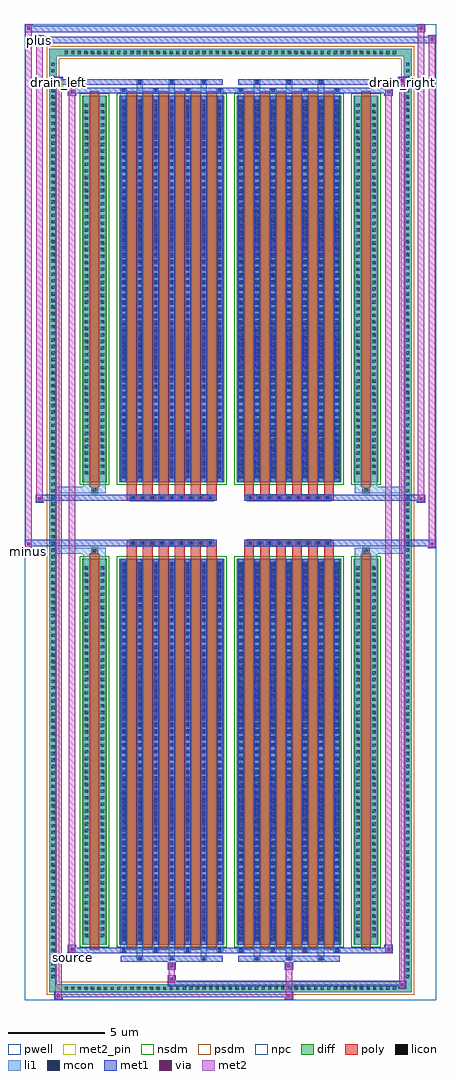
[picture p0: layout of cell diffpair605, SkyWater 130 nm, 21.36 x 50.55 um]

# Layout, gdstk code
import gdstk
lib = gdstk.Library(unit=1e-6, precision=5e-09)
def R(c, l, rs):  # rectangles x0, y0, x1, y1
    for r in rs: c.add(gdstk.rectangle(r[:2], r[2:], *l))
def A(c, l, x, y, w, h, nx, ny, dx, dy):  # array of equal rectangles
    R(c, l, [(x+i*dx, y+j*dy, x+i*dx+w, y+j*dy+h) for i in range(nx) for j in range(ny)])
def P(c, l, *ps):  # polygons
    for p in ps: c.add(gdstk.Polygon(p, *l))
pwell = (64, 44)
diff = (65, 20)
poly = (66, 20)
licon = (66, 44)
li1 = (67, 20)
mcon = (67, 44)
met1 = (68, 20)
via = (68, 44)
met2_pin = (69, 16)
met2 = (69, 20)
nsdm = (93, 44)
psdm = (94, 20)
npc = (95, 20)

diffpair605 = lib.new_cell('diffpair605')
R(diffpair605, pwell, [(-10.66,-24.84,10.66,25.71), (-7.98,-23.03,-0.01,-0.805), (0.01,-23.03,7.98,-0.805), (-7.98,0.805,-0.01,23.03), (0.01,0.805,7.98,23.03)])
A(diffpair605, diff, -8.705, -24.44, 0.41, 0.41, 51, 2, 0.34, 48.47)
A(diffpair605, diff, -9.39, -23.835, 0.41, 0.41, 1, 140, 0, 0.34)
A(diffpair605, diff, 8.98, -23.835, 0.41, 0.41, 1, 140, 0, 0.34)
R(diffpair605, diff, [(-8.705,-24.44,8.705,-24.03), (-9.39,-23.835,-8.98,23.835), (8.98,-23.835,9.39,23.835), (-7.67,-21.985,-6.39,-1.985), (-5.75,-21.985,-0.32,-1.985), (0.32,-21.985,5.75,-1.985), (6.39,-21.985,7.67,-1.985), (-7.67,1.985,-6.39,21.985), (-5.75,1.985,-0.32,21.985), (0.32,1.985,5.75,21.985), (6.39,1.985,7.67,21.985), (-8.705,24.03,8.705,24.44)])
P(diffpair605, diff, [(9.39,24.44),(-9.39,24.44),(-9.39,-24.03),(-8.98,-24.03),(-8.98,24.03),(8.98,24.03),(8.98,-24.03),(-8.98,-24.03),(-9.39,-24.03),(-9.39,-24.44),(9.39,-24.44)])
A(diffpair605, poly, -5.36, -22.235, 0.5, 20.5, 6, 2, 0.83, 23.97)
A(diffpair605, poly, 0.71, -22.235, 0.5, 20.5, 6, 2, 0.83, 23.97)
A(diffpair605, poly, -5.36, -1.735, 0.5, 0.4, 6, 2, 0.83, 3.07)
A(diffpair605, poly, 0.71, -1.735, 0.5, 0.4, 6, 2, 0.83, 3.07)
A(diffpair605, poly, -5.2, -1.335, 0.33, 0.33, 9, 2, 0.5, 2.34)
A(diffpair605, poly, 0.87, -1.335, 0.33, 0.33, 9, 2, 0.5, 2.34)
R(diffpair605, poly, [(-7.28,-22.235,-6.78,-1.735), (6.78,-22.235,7.28,-1.735), (-7.195,-1.735,-6.865,-1.405), (-7.195,-1.735,-6.865,-1.405), (6.865,-1.735,7.195,-1.405), (6.865,-1.735,7.195,-1.405), (-5.36,-1.335,-0.71,-1.005), (0.71,-1.335,5.36,-1.005), (-5.36,1.005,-0.71,1.335), (0.71,1.005,5.36,1.335), (-7.195,1.405,-6.865,1.735), (-7.195,1.405,-6.865,1.735), (6.865,1.405,7.195,1.735), (6.865,1.405,7.195,1.735), (-7.28,1.735,-6.78,22.235), (6.78,1.735,7.28,22.235)])
A(diffpair605, licon, -8.585, -24.32, 0.17, 0.17, 51, 2, 0.34, 48.47)
A(diffpair605, licon, -9.27, -23.715, 0.17, 0.17, 1, 140, 0, 0.34)
A(diffpair605, licon, 9.1, -23.715, 0.17, 0.17, 1, 140, 0, 0.34)
A(diffpair605, licon, -7.53, -21.59, 0.17, 0.17, 1, 57, 0, 0.34)
A(diffpair605, licon, -6.7, -21.59, 0.17, 0.17, 1, 57, 0, 0.34)
A(diffpair605, licon, -5.61, -21.59, 0.17, 0.17, 7, 57, 0.83, 0.34)
A(diffpair605, licon, 0.46, -21.59, 0.17, 0.17, 7, 57, 0.83, 0.34)
A(diffpair605, licon, 6.53, -21.59, 0.17, 0.17, 1, 57, 0, 0.34)
A(diffpair605, licon, 7.36, -21.59, 0.17, 0.17, 1, 57, 0, 0.34)
A(diffpair605, licon, -5.12, -1.255, 0.17, 0.17, 9, 2, 0.5, 2.34)
A(diffpair605, licon, 0.95, -1.255, 0.17, 0.17, 9, 2, 0.5, 2.34)
A(diffpair605, licon, -7.53, 2.38, 0.17, 0.17, 1, 57, 0, 0.34)
A(diffpair605, licon, -6.7, 2.38, 0.17, 0.17, 1, 57, 0, 0.34)
A(diffpair605, licon, -5.61, 2.38, 0.17, 0.17, 7, 57, 0.83, 0.34)
A(diffpair605, licon, 0.46, 2.38, 0.17, 0.17, 7, 57, 0.83, 0.34)
A(diffpair605, licon, 6.53, 2.38, 0.17, 0.17, 1, 57, 0, 0.34)
A(diffpair605, licon, 7.36, 2.38, 0.17, 0.17, 1, 57, 0, 0.34)
R(diffpair605, licon, [(-7.115,-1.655,-6.945,-1.485), (6.945,-1.655,7.115,-1.485), (-7.115,1.485,-6.945,1.655), (6.945,1.485,7.115,1.655)])
A(diffpair605, li1, -8.665, -24.4, 0.33, 0.33, 51, 2, 0.34, 48.47)
A(diffpair605, li1, -9.35, -23.795, 0.33, 0.33, 1, 140, 0, 0.34)
A(diffpair605, li1, 9.02, -23.795, 0.33, 0.33, 1, 140, 0, 0.34)
A(diffpair605, li1, -4.86, -22.79, 0.33, 0.805, 3, 2, 1.66, 44.775)
A(diffpair605, li1, -4.78, -22.79, 0.17, 0.17, 3, 2, 1.66, 45.41)
A(diffpair605, li1, 1.21, -22.79, 0.33, 0.805, 3, 2, 1.66, 44.775)
A(diffpair605, li1, 1.29, -22.79, 0.17, 0.17, 3, 2, 1.66, 45.41)
A(diffpair605, li1, -5.69, -22.36, 0.33, 0.375, 4, 2, 1.66, 44.345)
A(diffpair605, li1, -5.61, -22.36, 0.17, 0.17, 4, 2, 1.66, 44.55)
A(diffpair605, li1, 0.38, -22.36, 0.33, 0.375, 4, 2, 1.66, 44.345)
A(diffpair605, li1, 0.46, -22.36, 0.17, 0.17, 4, 2, 1.66, 44.55)
A(diffpair605, li1, -5.69, -21.985, 0.33, 20, 7, 2, 0.83, 23.97)
A(diffpair605, li1, 0.38, -21.985, 0.33, 20, 7, 2, 0.83, 23.97)
A(diffpair605, li1, -5.61, -21.79, 0.17, 0.17, 7, 55, 0.83, 0.36)
A(diffpair605, li1, -5.61, -21.79, 0.17, 19.61, 7, 2, 0.83, 23.97)
A(diffpair605, li1, 0.46, -21.79, 0.17, 0.17, 7, 55, 0.83, 0.36)
A(diffpair605, li1, 0.46, -21.79, 0.17, 19.61, 7, 2, 0.83, 23.97)
A(diffpair605, li1, -7.61, -21.67, 0.33, 0.33, 1, 57, 0, 0.34)
A(diffpair605, li1, -6.78, -21.67, 0.33, 0.33, 1, 57, 0, 0.34)
A(diffpair605, li1, -5.69, -21.67, 0.33, 0.33, 7, 57, 0.83, 0.34)
A(diffpair605, li1, 0.38, -21.67, 0.33, 0.33, 7, 57, 0.83, 0.34)
A(diffpair605, li1, 6.45, -21.67, 0.33, 0.33, 1, 57, 0, 0.34)
A(diffpair605, li1, 7.28, -21.67, 0.33, 0.33, 1, 57, 0, 0.34)
A(diffpair605, li1, -5.2, -1.335, 0.33, 0.33, 9, 2, 0.5, 2.34)
A(diffpair605, li1, 0.87, -1.335, 0.33, 0.33, 9, 2, 0.5, 2.34)
A(diffpair605, li1, -5.61, 2.18, 0.17, 0.17, 7, 55, 0.83, 0.36)
A(diffpair605, li1, 0.46, 2.18, 0.17, 0.17, 7, 55, 0.83, 0.36)
A(diffpair605, li1, -7.61, 2.3, 0.33, 0.33, 1, 57, 0, 0.34)
A(diffpair605, li1, -6.78, 2.3, 0.33, 0.33, 1, 57, 0, 0.34)
A(diffpair605, li1, -5.69, 2.3, 0.33, 0.33, 7, 57, 0.83, 0.34)
A(diffpair605, li1, 0.38, 2.3, 0.33, 0.33, 7, 57, 0.83, 0.34)
A(diffpair605, li1, 6.45, 2.3, 0.33, 0.33, 1, 57, 0, 0.34)
A(diffpair605, li1, 7.28, 2.3, 0.33, 0.33, 1, 57, 0, 0.34)
R(diffpair605, li1, [(-9.39,-24.44,-8.98,-24.03), (-9.39,-24.44,-8.98,-24.03), (-8.98,-24.44,8.98,-24.03), (8.98,-24.44,9.39,-24.03), (8.98,-24.44,9.39,-24.03), (-9.39,-24.03,-8.98,24.03), (8.98,-24.03,9.39,24.03), (-7.61,-21.985,-7.28,-1.985), (-6.78,-21.985,-6.45,-1.985), (6.45,-21.985,6.78,-1.985), (7.28,-21.985,7.61,-1.985), (-7.61,-1.985,-7.28,-1.405), (-6.78,-1.985,-6.45,-1.405), (6.45,-1.985,6.78,-1.405), (7.28,-1.985,7.61,-1.405), (-9.39,-1.735,-7.195,-1.405), (-7.61,-1.735,-7.195,-1.405), (-7.195,-1.735,-6.865,-1.405), (-6.865,-1.735,-6.45,-1.405), (6.45,-1.735,6.865,-1.405), (6.865,-1.735,7.195,-1.405), (6.865,-1.735,9.39,-1.405), (7.195,-1.735,7.61,-1.405), (-9.39,1.405,-7.195,1.735), (-7.61,1.405,-7.195,1.735), (-7.61,1.405,-7.28,1.985), (-7.195,1.405,-6.865,1.735), (-6.865,1.405,-6.45,1.735), (-6.78,1.405,-6.45,1.985), (6.45,1.405,6.865,1.735), (6.45,1.405,6.78,1.985), (6.865,1.405,7.195,1.735), (6.865,1.405,9.39,1.735), (7.195,1.405,7.61,1.735), (7.28,1.405,7.61,1.985), (-7.61,1.985,-7.28,21.985), (-6.78,1.985,-6.45,21.985), (6.45,1.985,6.78,21.985), (7.28,1.985,7.61,21.985), (-9.39,24.03,-8.98,24.44), (-9.39,24.03,-8.98,24.44), (-8.98,24.03,8.98,24.44), (8.98,24.03,9.39,24.44), (8.98,24.03,9.39,24.44)])
A(diffpair605, mcon, -4.78, -22.79, 0.17, 0.17, 3, 2, 1.66, 45.41)
A(diffpair605, mcon, 1.29, -22.79, 0.17, 0.17, 3, 2, 1.66, 45.41)
A(diffpair605, mcon, -5.61, -22.36, 0.17, 0.17, 4, 2, 1.66, 44.55)
A(diffpair605, mcon, 0.46, -22.36, 0.17, 0.17, 4, 2, 1.66, 44.55)
A(diffpair605, mcon, -5.61, -21.79, 0.17, 0.17, 7, 55, 0.83, 0.36)
A(diffpair605, mcon, 0.46, -21.79, 0.17, 0.17, 7, 55, 0.83, 0.36)
A(diffpair605, mcon, -5.12, -1.255, 0.17, 0.17, 9, 2, 0.5, 2.34)
A(diffpair605, mcon, 0.95, -1.255, 0.17, 0.17, 9, 2, 0.5, 2.34)
A(diffpair605, mcon, -5.61, 2.18, 0.17, 0.17, 7, 55, 0.83, 0.36)
A(diffpair605, mcon, 0.46, 2.18, 0.17, 0.17, 7, 55, 0.83, 0.36)
A(diffpair605, met1, -4.84, -22.85, 0.29, 0.29, 3, 2, 1.66, 45.41)
A(diffpair605, met1, 1.23, -22.85, 0.29, 0.29, 3, 2, 1.66, 45.41)
A(diffpair605, met1, -5.67, -22.42, 0.29, 0.29, 4, 2, 1.66, 44.55)
A(diffpair605, met1, 0.4, -22.42, 0.29, 0.29, 4, 2, 1.66, 44.55)
A(diffpair605, met1, -5.67, -21.985, 0.29, 20, 7, 2, 0.83, 23.97)
A(diffpair605, met1, 0.4, -21.985, 0.29, 20, 7, 2, 0.83, 23.97)
A(diffpair605, met1, -5.67, -21.85, 0.29, 0.29, 7, 55, 0.83, 0.36)
A(diffpair605, met1, 0.4, -21.85, 0.29, 0.29, 7, 55, 0.83, 0.36)
A(diffpair605, met1, -5.18, -1.315, 0.29, 0.29, 9, 2, 0.5, 2.34)
A(diffpair605, met1, 0.89, -1.315, 0.29, 0.29, 9, 2, 0.5, 2.34)
A(diffpair605, met1, -5.67, 2.12, 0.29, 0.29, 7, 55, 0.83, 0.36)
A(diffpair605, met1, 0.4, 2.12, 0.29, 0.29, 7, 55, 0.83, 0.36)
R(diffpair605, met1, [(-9.12,-24.84,-8.69,-24.41), (2.82,-24.84,3.25,-24.41), (-9.12,-24.7,3.25,-24.41), (8.69,-24.27,9.12,-23.84), (-3.25,-24.13,9.12,-23.84), (-3.25,-23.99,-2.82,-23.56), (-3.25,-23.28,-2.82,-22.85), (2.82,-23.28,3.25,-22.85), (-5.67,-22.85,-0.4,-22.56), (0.4,-22.85,5.67,-22.56), (-8.41,-22.42,-7.98,-21.99), (-8.41,-22.42,-5.67,-22.13), (-5.67,-22.42,-0.4,-22.13), (-0.4,-22.42,0.4,-22.13), (0.4,-22.42,5.67,-22.13), (5.67,-22.42,8.41,-22.13), (7.98,-22.42,8.41,-21.99), (-10.66,-1.435,-10.23,-1.005), (10.23,-1.435,10.66,-1.005), (-10.66,-1.335,-0.71,-1.005), (-5.36,-1.335,-0.71,-1.005), (0.71,-1.335,5.36,-1.005), (0.71,-1.335,10.66,-1.005), (-10.09,0.905,-9.66,1.335), (9.66,0.905,10.09,1.335), (-10.09,1.005,-5.36,1.335), (-5.36,1.005,-0.71,1.335), (0.71,1.005,5.36,1.335), (5.36,1.005,10.09,1.335), (-8.41,21.99,-7.98,22.42), (7.98,21.99,8.41,22.42), (-8.41,22.13,-5.67,22.42), (-5.67,22.13,-0.4,22.42), (-0.4,22.13,0.4,22.42), (0.4,22.13,5.67,22.42), (5.67,22.13,8.41,22.42), (-9.12,22.56,-8.69,22.99), (-9.12,22.56,-5.67,22.85), (-5.67,22.56,-0.4,22.85), (0.4,22.56,5.67,22.85), (5.67,22.56,9.12,22.85), (8.69,22.56,9.12,22.99), (-10.09,24.71,-9.66,25.14), (-10.09,24.71,-7.98,25.04), (-7.98,24.71,7.98,25.04), (7.98,24.71,10.66,25.04), (10.23,24.71,10.66,25.14), (-10.66,25.28,-10.23,25.71), (-10.66,25.28,-7.98,25.61), (-7.98,25.28,7.98,25.61), (7.98,25.28,10.09,25.61), (9.66,25.28,10.09,25.71)])
R(diffpair605, via, [(-8.98,-24.7,-8.83,-24.55), (2.96,-24.7,3.11,-24.55), (8.83,-24.13,8.98,-23.98), (-3.11,-23.85,-2.96,-23.7), (-3.11,-23.14,-2.96,-22.99), (2.96,-23.14,3.11,-22.99), (-8.27,-22.28,-8.12,-22.13), (8.12,-22.28,8.27,-22.13), (-10.52,-1.295,-10.37,-1.145), (10.37,-1.295,10.52,-1.145), (-9.95,1.045,-9.8,1.195), (9.8,1.045,9.95,1.195), (-8.27,22.13,-8.12,22.28), (8.12,22.13,8.27,22.28), (-8.98,22.7,-8.83,22.85), (8.83,22.7,8.98,22.85), (-9.95,24.85,-9.8,25), (10.37,24.85,10.52,25), (-10.52,25.42,-10.37,25.57), (9.8,25.42,9.95,25.57)])
R(diffpair605, met2_pin, [(-8.445,-22.87,-7.945,-22.37), (-10.695,-1.885,-10.195,-1.385), (-9.155,22.44,-8.655,22.94), (8.655,22.44,9.155,22.94), (-10.125,24.59,-9.625,25.09)])
R(diffpair605, met2, [(-9.07,-24.79,-8.74,-24.46), (-9.07,-24.79,-8.74,22.94), (2.87,-24.79,3.2,-24.46), (2.87,-24.46,3.2,-23.23), (8.74,-24.22,9.07,-23.89), (8.74,-24.22,9.07,22.94), (-3.2,-23.94,-2.87,-23.61), (-3.2,-23.61,-2.87,-23.23), (-3.2,-23.23,-2.87,-22.9), (2.87,-23.23,3.2,-22.9), (-8.36,-22.37,-8.03,-22.04), (-8.36,-22.37,-8.03,22.37), (8.03,-22.37,8.36,-22.04), (8.03,-22.37,8.36,22.37), (-10.61,-1.385,-10.28,-1.055), (-10.61,-1.385,-10.28,25.66), (10.28,-1.385,10.61,-1.055), (10.28,-1.385,10.61,25.09), (-10.04,0.955,-9.71,1.285), (-10.04,0.955,-9.71,25.09), (9.71,0.955,10.04,1.285), (9.71,0.955,10.04,25.66), (-8.36,22.04,-8.03,22.37), (8.03,22.04,8.36,22.37), (-9.07,22.61,-8.74,22.94), (8.74,22.61,9.07,22.94), (-10.04,24.76,-9.71,25.09), (10.28,24.76,10.61,25.09), (-10.61,25.33,-10.28,25.66), (9.71,25.33,10.04,25.66)])
P(diffpair605, met2, [(10.61,-1.385),(10.61,-1.385),(10.61,-1.055),(10.61,-1.055)],
  [(10.61,24.76),(10.61,24.76),(10.61,25.09),(10.61,25.09)],
  [(-10.28,-1.385),(-10.28,-1.385),(-10.28,-1.055),(-10.28,-1.055)],
  [(-10.28,25.33),(-10.28,25.33),(-10.28,25.66),(-10.28,25.66)],
  [(10.04,0.955),(10.04,0.955),(10.04,1.285),(10.04,1.285)],
  [(10.04,25.33),(10.04,25.33),(10.04,25.66),(10.04,25.66)],
  [(-9.71,0.955),(-9.71,0.955),(-9.71,1.285),(-9.71,1.285)],
  [(-9.71,24.76),(-9.71,24.76),(-9.71,25.09),(-9.71,25.09)],
  [(-8.74,-24.79),(-8.74,-24.79),(-8.74,-24.46),(-8.74,-24.46)],
  [(-8.74,22.61),(-8.74,22.61),(-8.74,22.94),(-8.74,22.94)],
  [(9.07,-24.22),(9.07,-24.22),(9.07,-23.89),(9.07,-23.89)],
  [(9.07,22.61),(9.07,22.61),(9.07,22.94),(9.07,22.94)],
  [(-8.03,-22.37),(-8.03,-22.37),(-8.03,-22.04),(-8.03,-22.04)],
  [(-8.03,22.04),(-8.03,22.04),(-8.03,22.37),(-8.03,22.37)],
  [(8.36,-22.37),(8.36,-22.37),(8.36,-22.04),(8.36,-22.04)],
  [(8.36,22.04),(8.36,22.04),(8.36,22.37),(8.36,22.37)])
R(diffpair605, nsdm, [(-7.8,-22.115,-6.26,-1.855), (-5.88,-22.115,-0.19,-1.855), (0.19,-22.115,5.88,-1.855), (6.26,-22.115,7.8,-1.855), (-7.8,1.855,-6.26,22.115), (-5.88,1.855,-0.19,22.115), (0.19,1.855,5.88,22.115), (6.26,1.855,7.8,22.115)])
P(diffpair605, psdm, [(9.52,24.57),(-9.52,24.57),(-9.52,-23.9),(-8.85,-23.9),(-8.85,23.9),(8.85,23.9),(8.85,-23.9),(-8.85,-23.9),(-9.52,-23.9),(-9.52,-24.57),(9.52,-24.57)])
A(diffpair605, npc, -5.22, -1.355, 0.37, 0.37, 9, 2, 0.5, 2.34)
A(diffpair605, npc, 0.85, -1.355, 0.37, 0.37, 9, 2, 0.5, 2.34)
R(diffpair605, npc, [(-7.215,-1.755,-6.845,-1.385), (6.845,-1.755,7.215,-1.385), (-5.22,-1.355,-4.35,-0.985), (-5.22,-1.355,-4.35,-0.985), (-4.72,-1.355,-3.85,-0.985), (-4.72,-1.355,-3.85,-0.985), (-4.22,-1.355,-3.35,-0.985), (-4.22,-1.355,-3.35,-0.985), (-3.72,-1.355,-2.85,-0.985), (-3.72,-1.355,-2.85,-0.985), (-3.22,-1.355,-2.35,-0.985), (-3.22,-1.355,-2.35,-0.985), (-2.72,-1.355,-1.85,-0.985), (-2.72,-1.355,-1.85,-0.985), (-2.22,-1.355,-1.35,-0.985), (-2.22,-1.355,-1.35,-0.985), (-1.72,-1.355,-0.85,-0.985), (-1.72,-1.355,-0.85,-0.985), (0.85,-1.355,1.72,-0.985), (0.85,-1.355,1.72,-0.985), (1.35,-1.355,2.22,-0.985), (1.35,-1.355,2.22,-0.985), (1.85,-1.355,2.72,-0.985), (1.85,-1.355,2.72,-0.985), (2.35,-1.355,3.22,-0.985), (2.35,-1.355,3.22,-0.985), (2.85,-1.355,3.72,-0.985), (2.85,-1.355,3.72,-0.985), (3.35,-1.355,4.22,-0.985), (3.35,-1.355,4.22,-0.985), (3.85,-1.355,4.72,-0.985), (3.85,-1.355,4.72,-0.985), (4.35,-1.355,5.22,-0.985), (4.35,-1.355,5.22,-0.985), (-5.22,0.985,-4.35,1.355), (-5.22,0.985,-4.35,1.355), (-4.72,0.985,-3.85,1.355), (-4.72,0.985,-3.85,1.355), (-4.22,0.985,-3.35,1.355), (-4.22,0.985,-3.35,1.355), (-3.72,0.985,-2.85,1.355), (-3.72,0.985,-2.85,1.355), (-3.22,0.985,-2.35,1.355), (-3.22,0.985,-2.35,1.355), (-2.72,0.985,-1.85,1.355), (-2.72,0.985,-1.85,1.355), (-2.22,0.985,-1.35,1.355), (-2.22,0.985,-1.35,1.355), (-1.72,0.985,-0.85,1.355), (-1.72,0.985,-0.85,1.355), (0.85,0.985,1.72,1.355), (0.85,0.985,1.72,1.355), (1.35,0.985,2.22,1.355), (1.35,0.985,2.22,1.355), (1.85,0.985,2.72,1.355), (1.85,0.985,2.72,1.355), (2.35,0.985,3.22,1.355), (2.35,0.985,3.22,1.355), (2.85,0.985,3.72,1.355), (2.85,0.985,3.72,1.355), (3.35,0.985,4.22,1.355), (3.35,0.985,4.22,1.355), (3.85,0.985,4.72,1.355), (3.85,0.985,4.72,1.355), (4.35,0.985,5.22,1.355), (4.35,0.985,5.22,1.355), (-7.215,1.385,-6.845,1.755), (6.845,1.385,7.215,1.755)])
diffpair605.add(gdstk.Label('minus', (-10.445,-1.635), layer=69, texttype=5))
diffpair605.add(gdstk.Label('drain_right', (8.905,22.69), layer=69, texttype=5))
diffpair605.add(gdstk.Label('drain_left', (-8.905,22.69), layer=69, texttype=5))
diffpair605.add(gdstk.Label('source', (-8.195,-22.62), layer=69, texttype=5))
diffpair605.add(gdstk.Label('plus', (-9.875,24.84), layer=69, texttype=5))

lib.write_gds('diffpair605.gds')
